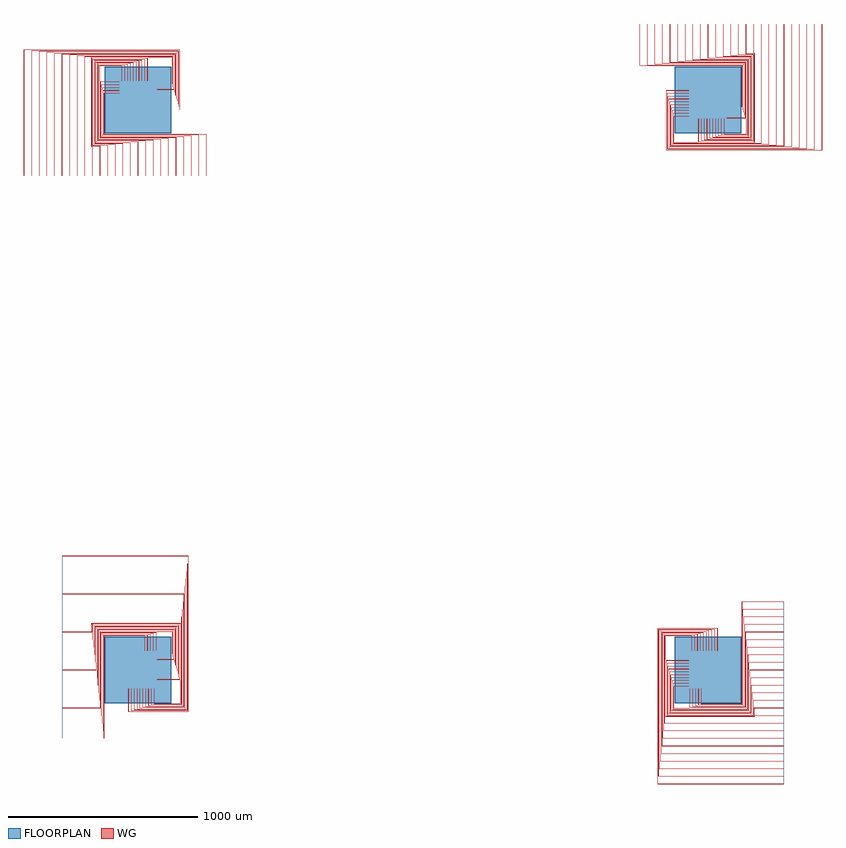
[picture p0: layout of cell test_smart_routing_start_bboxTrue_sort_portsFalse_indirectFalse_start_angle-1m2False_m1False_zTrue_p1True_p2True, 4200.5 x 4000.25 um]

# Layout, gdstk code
import gdstk
lib = gdstk.Library(unit=1e-6, precision=1e-09)
def R(c, l, rs):  # rectangles x0, y0, x1, y1
    for r in rs: c.add(gdstk.rectangle(r[:2], r[2:], *l))
def P(c, l, *ps):  # polygons
    for p in ps: c.add(gdstk.Polygon(p, *l))
WG = (1, 0)
FLOORPLAN = (10, 0)

test_smart_routing_start = lib.new_cell('test_smart_routing_start_bboxTrue_sort_portsFalse_indirectFalse_start_angle-1m2False_m1False_zTrue_p1True_p2True')
P(test_smart_routing_start, WG, [(2780.3,2735.3),(2780.3,3049.95),(2900,3049.95),(2900,3049.75),(2780.5,3049.75),(2780.5,2735.5),(3599.75,2735.5),(3599.75,3400),(3599.95,3400),(3599.95,2735.3)],
  [(2780,2735),(2780,3050.25),(2900,3050.25),(2900,3050.05),(2780.2,3050.05),(2780.2,2735.2),(3600.05,2735.2),(3600.05,3400),(3600.25,3400),(3600.25,2735)],
  [(2784.8,2739.8),(2784.8,3034.95),(2900,3034.95),(2900,3034.75),(2785,3034.75),(2785,2740),(3559.75,2740),(3559.75,3400),(3559.95,3400),(3559.95,2739.8)],
  [(2784.5,2739.5),(2784.5,3035.25),(2900,3035.25),(2900,3035.05),(2784.7,3035.05),(2784.7,2739.7),(3560.05,2739.7),(3560.05,3400),(3560.25,3400),(3560.25,2739.5)],
  [(2789.3,2744.3),(2789.3,3019.95),(2900,3019.95),(2900,3019.75),(2789.5,3019.75),(2789.5,2744.5),(3519.75,2744.5),(3519.75,3400),(3519.95,3400),(3519.95,2744.3)],
  [(2789,2744),(2789,3020.25),(2900,3020.25),(2900,3020.05),(2789.2,3020.05),(2789.2,2744.2),(3520.05,2744.2),(3520.05,3400),(3520.25,3400),(3520.25,2744)],
  [(2793.8,2748.8),(2793.8,3004.95),(2900,3004.95),(2900,3004.75),(2794,3004.75),(2794,2749),(3479.75,2749),(3479.75,3400),(3479.95,3400),(3479.95,2748.8)],
  [(2793.5,2748.5),(2793.5,3005.25),(2900,3005.25),(2900,3005.05),(2793.7,3005.05),(2793.7,2748.7),(3480.05,2748.7),(3480.05,3400),(3480.25,3400),(3480.25,2748.5)],
  [(2798.3,2753.3),(2798.3,2989.95),(2900,2989.95),(2900,2989.75),(2798.5,2989.75),(2798.5,2753.5),(3439.75,2753.5),(3439.75,3400),(3439.95,3400),(3439.95,2753.3)],
  [(2798,2753),(2798,2990.25),(2900,2990.25),(2900,2990.05),(2798.2,2990.05),(2798.2,2753.2),(3440.05,2753.2),(3440.05,3400),(3440.25,3400),(3440.25,2753)],
  [(2802.8,2757.8),(2802.8,2974.95),(2900,2974.95),(2900,2974.75),(2803,2974.75),(2803,2758),(3399.75,2758),(3399.75,3400),(3399.95,3400),(3399.95,2757.8)],
  [(2802.5,2757.5),(2802.5,2975.25),(2900,2975.25),(2900,2975.05),(2802.7,2975.05),(2802.7,2757.7),(3400.05,2757.7),(3400.05,3400),(3400.25,3400),(3400.25,2757.5)],
  [(2807.3,2762.3),(2807.3,2959.95),(2900,2959.95),(2900,2959.75),(2807.5,2959.75),(2807.5,2762.5),(3359.75,2762.5),(3359.75,3400),(3359.95,3400),(3359.95,2762.3)],
  [(2807,2762),(2807,2960.25),(2900,2960.25),(2900,2960.05),(2807.2,2960.05),(2807.2,2762.2),(3360.05,2762.2),(3360.05,3400),(3360.25,3400),(3360.25,2762)],
  [(2811.8,2766.8),(2811.8,2944.95),(2900,2944.95),(2900,2944.75),(2812,2944.75),(2812,2767),(3319.75,2767),(3319.75,3400),(3319.95,3400),(3319.95,2766.8)],
  [(2811.5,2766.5),(2811.5,2945.25),(2900,2945.25),(2900,2945.05),(2811.7,2945.05),(2811.7,2766.7),(3320.05,2766.7),(3320.05,3400),(3320.25,3400),(3320.25,2766.5)],
  [(2816.3,2771.3),(2816.3,2929.95),(2900,2929.95),(2900,2929.75),(2816.5,2929.75),(2816.5,2771.5),(3279.75,2771.5),(3279.75,3400),(3279.95,3400),(3279.95,2771.3)],
  [(2816,2771),(2816,2930.25),(2900,2930.25),(2900,2930.05),(2816.2,2930.05),(2816.2,2771.2),(3280.05,2771.2),(3280.05,3400),(3280.25,3400),(3280.25,2771)],
  [(2820.8,2775.8),(2820.8,2914.95),(2900,2914.95),(2900,2914.75),(2821,2914.75),(2821,2776),(3246.5,2776),(3246.5,3246.5),(3239.75,3246.5),(3239.75,3400),(3239.95,3400),(3239.95,3246.7),(3246.7,3246.7),(3246.7,2775.8)],
  [(2820.5,2775.5),(2820.5,2915.25),(2900,2915.25),(2900,2915.05),(2820.7,2915.05),(2820.7,2775.7),(3246.8,2775.7),(3246.8,3246.8),(3240.05,3246.8),(3240.05,3400),(3240.25,3400),(3240.25,3247),(3247,3247),(3247,2775.5)],
  [(2950.05,2780.3),(2950.05,2900),(2950.25,2900),(2950.25,2780.5),(3242,2780.5),(3242,3242),(3199.75,3242),(3199.75,3400),(3199.95,3400),(3199.95,3242.2),(3242.2,3242.2),(3242.2,2780.3)],
  [(2949.75,2780),(2949.75,2900),(2949.95,2900),(2949.95,2780.2),(3242.3,2780.2),(3242.3,3242.3),(3200.05,3242.3),(3200.05,3400),(3200.25,3400),(3200.25,3242.5),(3242.5,3242.5),(3242.5,2780)],
  [(2965.05,2784.8),(2965.05,2900),(2965.25,2900),(2965.25,2785),(3237.5,2785),(3237.5,3237.5),(3159.75,3237.5),(3159.75,3400),(3159.95,3400),(3159.95,3237.7),(3237.7,3237.7),(3237.7,2784.8)],
  [(2964.75,2784.5),(2964.75,2900),(2964.95,2900),(2964.95,2784.7),(3237.8,2784.7),(3237.8,3237.8),(3160.05,3237.8),(3160.05,3400),(3160.25,3400),(3160.25,3238),(3238,3238),(3238,2784.5)],
  [(2980.05,2789.3),(2980.05,2900),(2980.25,2900),(2980.25,2789.5),(3233,2789.5),(3233,3233),(3119.75,3233),(3119.75,3400),(3119.95,3400),(3119.95,3233.2),(3233.2,3233.2),(3233.2,2789.3)],
  [(2979.75,2789),(2979.75,2900),(2979.95,2900),(2979.95,2789.2),(3233.3,2789.2),(3233.3,3233.3),(3120.05,3233.3),(3120.05,3400),(3120.25,3400),(3120.25,3233.5),(3233.5,3233.5),(3233.5,2789)],
  [(2995.05,2793.8),(2995.05,2900),(2995.25,2900),(2995.25,2794),(3228.5,2794),(3228.5,3228.5),(3079.75,3228.5),(3079.75,3400),(3079.95,3400),(3079.95,3228.7),(3228.7,3228.7),(3228.7,2793.8)],
  [(2994.75,2793.5),(2994.75,2900),(2994.95,2900),(2994.95,2793.7),(3228.8,2793.7),(3228.8,3228.8),(3080.05,3228.8),(3080.05,3400),(3080.25,3400),(3080.25,3229),(3229,3229),(3229,2793.5)],
  [(3010.05,2798.3),(3010.05,2900),(3010.25,2900),(3010.25,2798.5),(3224,2798.5),(3224,3224),(3039.75,3224),(3039.75,3400),(3039.95,3400),(3039.95,3224.2),(3224.2,3224.2),(3224.2,2798.3)],
  [(3009.75,2798),(3009.75,2900),(3009.95,2900),(3009.95,2798.2),(3224.3,2798.2),(3224.3,3224.3),(3040.05,3224.3),(3040.05,3400),(3040.25,3400),(3040.25,3224.5),(3224.5,3224.5),(3224.5,2798)],
  [(3025.05,2802.8),(3025.05,2900),(3025.25,2900),(3025.25,2803),(3219.5,2803),(3219.5,3219.5),(2999.75,3219.5),(2999.75,3400),(2999.95,3400),(2999.95,3219.7),(3219.7,3219.7),(3219.7,2802.8)],
  [(3024.75,2802.5),(3024.75,2900),(3024.95,2900),(3024.95,2802.7),(3219.8,2802.7),(3219.8,3219.8),(3000.05,3219.8),(3000.05,3400),(3000.25,3400),(3000.25,3220),(3220,3220),(3220,2802.5)],
  [(3040.05,2807.3),(3040.05,2900),(3040.25,2900),(3040.25,2807.5),(3215,2807.5),(3215,3215),(2959.75,3215),(2959.75,3400),(2959.95,3400),(2959.95,3215.2),(3215.2,3215.2),(3215.2,2807.3)],
  [(3039.75,2807),(3039.75,2900),(3039.95,2900),(3039.95,2807.2),(3215.3,2807.2),(3215.3,3215.3),(2960.05,3215.3),(2960.05,3400),(2960.25,3400),(2960.25,3215.5),(3215.5,3215.5),(3215.5,2807)],
  [(3055.05,2811.8),(3055.05,2900),(3055.25,2900),(3055.25,2812),(3210.5,2812),(3210.5,3210.5),(2919.75,3210.5),(2919.75,3400),(2919.95,3400),(2919.95,3210.7),(3210.7,3210.7),(3210.7,2811.8)],
  [(3054.75,2811.5),(3054.75,2900),(3054.95,2900),(3054.95,2811.7),(3210.8,2811.7),(3210.8,3210.8),(2920.05,3210.8),(2920.05,3400),(2920.25,3400),(2920.25,3211),(3211,3211),(3211,2811.5)],
  [(3070.05,2816.3),(3070.05,2900),(3070.25,2900),(3070.25,2816.5),(3206,2816.5),(3206,3206),(2879.75,3206),(2879.75,3400),(2879.95,3400),(2879.95,3206.2),(3206.2,3206.2),(3206.2,2816.3)],
  [(3069.75,2816),(3069.75,2900),(3069.95,2900),(3069.95,2816.2),(3206.3,2816.2),(3206.3,3206.3),(2880.05,3206.3),(2880.05,3400),(2880.25,3400),(2880.25,3206.5),(3206.5,3206.5),(3206.5,2816)],
  [(3085.05,2820.8),(3085.05,2900),(3085.25,2900),(3085.25,2821),(3201.5,2821),(3201.5,3201.5),(2839.75,3201.5),(2839.75,3400),(2839.95,3400),(2839.95,3201.7),(3201.7,3201.7),(3201.7,2820.8)],
  [(3084.75,2820.5),(3084.75,2900),(3084.95,2900),(3084.95,2820.7),(3201.8,2820.7),(3201.8,3201.8),(2840.05,3201.8),(2840.05,3400),(2840.25,3400),(2840.25,3202),(3202,3202),(3202,2820.5)],
  [(3100,2965.05),(3100,2965.25),(3179,2965.25),(3179,3179),(2639.75,3179),(2639.75,3400),(2639.95,3400),(2639.95,3179.2),(3179.2,3179.2),(3179.2,2965.05)],
  [(3100,2964.75),(3100,2964.95),(3179.3,2964.95),(3179.3,3179.3),(2640.05,3179.3),(2640.05,3400),(2640.25,3400),(2640.25,3179.5),(3179.5,3179.5),(3179.5,2964.75)],
  [(3100,2950.05),(3100,2950.25),(3183.5,2950.25),(3183.5,3183.5),(2679.75,3183.5),(2679.75,3400),(2679.95,3400),(2679.95,3183.7),(3183.7,3183.7),(3183.7,2950.05)],
  [(3100,2949.75),(3100,2949.95),(3183.8,2949.95),(3183.8,3183.8),(2680.05,3183.8),(2680.05,3400),(2680.25,3400),(2680.25,3184),(3184,3184),(3184,2949.75)],
  [(3100,2935.05),(3100,2935.25),(3188,2935.25),(3188,3188),(2719.75,3188),(2719.75,3400),(2719.95,3400),(2719.95,3188.2),(3188.2,3188.2),(3188.2,2935.05)],
  [(3100,2934.75),(3100,2934.95),(3188.3,2934.95),(3188.3,3188.3),(2720.05,3188.3),(2720.05,3400),(2720.25,3400),(2720.25,3188.5),(3188.5,3188.5),(3188.5,2934.75)],
  [(3100,2920.05),(3100,2920.25),(3192.5,2920.25),(3192.5,3192.5),(2759.75,3192.5),(2759.75,3400),(2759.95,3400),(2759.95,3192.7),(3192.7,3192.7),(3192.7,2920.05)],
  [(3100,2919.75),(3100,2919.95),(3192.8,2919.95),(3192.8,3192.8),(2760.05,3192.8),(2760.05,3400),(2760.25,3400),(2760.25,3193),(3193,3193),(3193,2919.75)],
  [(3100,2905.05),(3100,2905.25),(3197,2905.25),(3197,3197),(2799.75,3197),(2799.75,3400),(2799.95,3400),(2799.95,3197.2),(3197.2,3197.2),(3197.2,2905.05)],
  [(3100,2904.75),(3100,2904.95),(3197.3,2904.95),(3197.3,3197.3),(2800.05,3197.3),(2800.05,3400),(2800.25,3400),(2800.25,3197.5),(3197.5,3197.5),(3197.5,2904.75)],
  [(-599.95,2600),(-599.95,3264.7),(219.7,3264.7),(219.7,2950.05),(100,2950.05),(100,2950.25),(219.5,2950.25),(219.5,3264.5),(-599.75,3264.5),(-599.75,2600)],
  [(-600.25,2600),(-600.25,3265),(220,3265),(220,2949.75),(100,2949.75),(100,2949.95),(219.8,2949.95),(219.8,3264.8),(-600.05,3264.8),(-600.05,2600)],
  [(-559.95,2600),(-559.95,3260.2),(215.2,3260.2),(215.2,2965.05),(100,2965.05),(100,2965.25),(215,2965.25),(215,3260),(-559.75,3260),(-559.75,2600)],
  [(-560.25,2600),(-560.25,3260.5),(215.5,3260.5),(215.5,2964.75),(100,2964.75),(100,2964.95),(215.3,2964.95),(215.3,3260.3),(-560.05,3260.3),(-560.05,2600)],
  [(-519.95,2600),(-519.95,3255.7),(210.7,3255.7),(210.7,2980.05),(100,2980.05),(100,2980.25),(210.5,2980.25),(210.5,3255.5),(-519.75,3255.5),(-519.75,2600)],
  [(-520.25,2600),(-520.25,3256),(211,3256),(211,2979.75),(100,2979.75),(100,2979.95),(210.8,2979.95),(210.8,3255.8),(-520.05,3255.8),(-520.05,2600)],
  [(-479.95,2600),(-479.95,3251.2),(206.2,3251.2),(206.2,2995.05),(100,2995.05),(100,2995.25),(206,2995.25),(206,3251),(-479.75,3251),(-479.75,2600)],
  [(-480.25,2600),(-480.25,3251.5),(206.5,3251.5),(206.5,2994.75),(100,2994.75),(100,2994.95),(206.3,2994.95),(206.3,3251.3),(-480.05,3251.3),(-480.05,2600)],
  [(-439.95,2600),(-439.95,3246.7),(201.7,3246.7),(201.7,3010.05),(100,3010.05),(100,3010.25),(201.5,3010.25),(201.5,3246.5),(-439.75,3246.5),(-439.75,2600)],
  [(-440.25,2600),(-440.25,3247),(202,3247),(202,3009.75),(100,3009.75),(100,3009.95),(201.8,3009.95),(201.8,3246.8),(-440.05,3246.8),(-440.05,2600)],
  [(-399.95,2600),(-399.95,3242.2),(197.2,3242.2),(197.2,3025.05),(100,3025.05),(100,3025.25),(197,3025.25),(197,3242),(-399.75,3242),(-399.75,2600)],
  [(-400.25,2600),(-400.25,3242.5),(197.5,3242.5),(197.5,3024.75),(100,3024.75),(100,3024.95),(197.3,3024.95),(197.3,3242.3),(-400.05,3242.3),(-400.05,2600)],
  [(-359.95,2600),(-359.95,3237.7),(192.7,3237.7),(192.7,3040.05),(100,3040.05),(100,3040.25),(192.5,3040.25),(192.5,3237.5),(-359.75,3237.5),(-359.75,2600)],
  [(-360.25,2600),(-360.25,3238),(193,3238),(193,3039.75),(100,3039.75),(100,3039.95),(192.8,3039.95),(192.8,3237.8),(-360.05,3237.8),(-360.05,2600)],
  [(-319.95,2600),(-319.95,3233.2),(188.2,3233.2),(188.2,3055.05),(100,3055.05),(100,3055.25),(188,3055.25),(188,3233),(-319.75,3233),(-319.75,2600)],
  [(-320.25,2600),(-320.25,3233.5),(188.5,3233.5),(188.5,3054.75),(100,3054.75),(100,3054.95),(188.3,3054.95),(188.3,3233.3),(-320.05,3233.3),(-320.05,2600)],
  [(-279.95,2600),(-279.95,3228.7),(183.7,3228.7),(183.7,3070.05),(100,3070.05),(100,3070.25),(183.5,3070.25),(183.5,3228.5),(-279.75,3228.5),(-279.75,2600)],
  [(-280.25,2600),(-280.25,3229),(184,3229),(184,3069.75),(100,3069.75),(100,3069.95),(183.8,3069.95),(183.8,3228.8),(-280.05,3228.8),(-280.05,2600)],
  [(-239.95,2600),(-239.95,2753.3),(-246.7,2753.3),(-246.7,3224.2),(179.2,3224.2),(179.2,3085.05),(100,3085.05),(100,3085.25),(179,3085.25),(179,3224),(-246.5,3224),(-246.5,2753.5),(-239.75,2753.5),(-239.75,2600)],
  [(-240.25,2600),(-240.25,2753),(-247,2753),(-247,3224.5),(179.5,3224.5),(179.5,3084.75),(100,3084.75),(100,3084.95),(179.3,3084.95),(179.3,3224.3),(-246.8,3224.3),(-246.8,2753.2),(-240.05,2753.2),(-240.05,2600)],
  [(-199.95,2600),(-199.95,2757.8),(-242.2,2757.8),(-242.2,3219.7),(49.95,3219.7),(49.95,3100),(49.75,3100),(49.75,3219.5),(-242,3219.5),(-242,2758),(-199.75,2758),(-199.75,2600)],
  [(-200.25,2600),(-200.25,2757.5),(-242.5,2757.5),(-242.5,3220),(50.25,3220),(50.25,3100),(50.05,3100),(50.05,3219.8),(-242.3,3219.8),(-242.3,2757.7),(-200.05,2757.7),(-200.05,2600)],
  [(-159.95,2600),(-159.95,2762.3),(-237.7,2762.3),(-237.7,3215.2),(34.95,3215.2),(34.95,3100),(34.75,3100),(34.75,3215),(-237.5,3215),(-237.5,2762.5),(-159.75,2762.5),(-159.75,2600)],
  [(-160.25,2600),(-160.25,2762),(-238,2762),(-238,3215.5),(35.25,3215.5),(35.25,3100),(35.05,3100),(35.05,3215.3),(-237.8,3215.3),(-237.8,2762.2),(-160.05,2762.2),(-160.05,2600)],
  [(-119.95,2600),(-119.95,2766.8),(-233.2,2766.8),(-233.2,3210.7),(19.95,3210.7),(19.95,3100),(19.75,3100),(19.75,3210.5),(-233,3210.5),(-233,2767),(-119.75,2767),(-119.75,2600)],
  [(-120.25,2600),(-120.25,2766.5),(-233.5,2766.5),(-233.5,3211),(20.25,3211),(20.25,3100),(20.05,3100),(20.05,3210.8),(-233.3,3210.8),(-233.3,2766.7),(-120.05,2766.7),(-120.05,2600)],
  [(-79.95,2600),(-79.95,2771.3),(-228.7,2771.3),(-228.7,3206.2),(4.95,3206.2),(4.95,3100),(4.75,3100),(4.75,3206),(-228.5,3206),(-228.5,2771.5),(-79.75,2771.5),(-79.75,2600)],
  [(-80.25,2600),(-80.25,2771),(-229,2771),(-229,3206.5),(5.25,3206.5),(5.25,3100),(5.05,3100),(5.05,3206.3),(-228.8,3206.3),(-228.8,2771.2),(-80.05,2771.2),(-80.05,2600)],
  [(-39.95,2600),(-39.95,2775.8),(-224.2,2775.8),(-224.2,3201.7),(-10.05,3201.7),(-10.05,3100),(-10.25,3100),(-10.25,3201.5),(-224,3201.5),(-224,2776),(-39.75,2776),(-39.75,2600)],
  [(-40.25,2600),(-40.25,2775.5),(-224.5,2775.5),(-224.5,3202),(-9.75,3202),(-9.75,3100),(-9.95,3100),(-9.95,3201.8),(-224.3,3201.8),(-224.3,2775.7),(-40.05,2775.7),(-40.05,2600)],
  [(0.05,2600),(0.05,2780.3),(-219.7,2780.3),(-219.7,3197.2),(-25.05,3197.2),(-25.05,3100),(-25.25,3100),(-25.25,3197),(-219.5,3197),(-219.5,2780.5),(0.25,2780.5),(0.25,2600)],
  [(-0.25,2600),(-0.25,2780),(-220,2780),(-220,3197.5),(-24.75,3197.5),(-24.75,3100),(-24.95,3100),(-24.95,3197.3),(-219.8,3197.3),(-219.8,2780.2),(-0.05,2780.2),(-0.05,2600)],
  [(40.05,2600),(40.05,2784.8),(-215.2,2784.8),(-215.2,3192.7),(-40.05,3192.7),(-40.05,3100),(-40.25,3100),(-40.25,3192.5),(-215,3192.5),(-215,2785),(40.25,2785),(40.25,2600)],
  [(39.75,2600),(39.75,2784.5),(-215.5,2784.5),(-215.5,3193),(-39.75,3193),(-39.75,3100),(-39.95,3100),(-39.95,3192.8),(-215.3,3192.8),(-215.3,2784.7),(39.95,2784.7),(39.95,2600)],
  [(80.05,2600),(80.05,2789.3),(-210.7,2789.3),(-210.7,3188.2),(-55.05,3188.2),(-55.05,3100),(-55.25,3100),(-55.25,3188),(-210.5,3188),(-210.5,2789.5),(80.25,2789.5),(80.25,2600)],
  [(79.75,2600),(79.75,2789),(-211,2789),(-211,3188.5),(-54.75,3188.5),(-54.75,3100),(-54.95,3100),(-54.95,3188.3),(-210.8,3188.3),(-210.8,2789.2),(79.95,2789.2),(79.95,2600)],
  [(120.05,2600),(120.05,2793.8),(-206.2,2793.8),(-206.2,3183.7),(-70.05,3183.7),(-70.05,3100),(-70.25,3100),(-70.25,3183.5),(-206,3183.5),(-206,2794),(120.25,2794),(120.25,2600)],
  [(119.75,2600),(119.75,2793.5),(-206.5,2793.5),(-206.5,3184),(-69.75,3184),(-69.75,3100),(-69.95,3100),(-69.95,3183.8),(-206.3,3183.8),(-206.3,2793.7),(119.95,2793.7),(119.95,2600)],
  [(160.05,2600),(160.05,2798.3),(-201.7,2798.3),(-201.7,3179.2),(-85.05,3179.2),(-85.05,3100),(-85.25,3100),(-85.25,3179),(-201.5,3179),(-201.5,2798.5),(160.25,2798.5),(160.25,2600)],
  [(159.75,2600),(159.75,2798),(-202,2798),(-202,3179.5),(-84.75,3179.5),(-84.75,3100),(-84.95,3100),(-84.95,3179.3),(-201.8,3179.3),(-201.8,2798.2),(159.95,2798.2),(159.95,2600)],
  [(360.05,2600),(360.05,2820.8),(-179.2,2820.8),(-179.2,3034.95),(-100,3034.95),(-100,3034.75),(-179,3034.75),(-179,2821),(360.25,2821),(360.25,2600)],
  [(359.75,2600),(359.75,2820.5),(-179.5,2820.5),(-179.5,3035.25),(-100,3035.25),(-100,3035.05),(-179.3,3035.05),(-179.3,2820.7),(359.95,2820.7),(359.95,2600)],
  [(320.05,2600),(320.05,2816.3),(-183.7,2816.3),(-183.7,3049.95),(-100,3049.95),(-100,3049.75),(-183.5,3049.75),(-183.5,2816.5),(320.25,2816.5),(320.25,2600)],
  [(319.75,2600),(319.75,2816),(-184,2816),(-184,3050.25),(-100,3050.25),(-100,3050.05),(-183.8,3050.05),(-183.8,2816.2),(319.95,2816.2),(319.95,2600)],
  [(280.05,2600),(280.05,2811.8),(-188.2,2811.8),(-188.2,3064.95),(-100,3064.95),(-100,3064.75),(-188,3064.75),(-188,2812),(280.25,2812),(280.25,2600)],
  [(279.75,2600),(279.75,2811.5),(-188.5,2811.5),(-188.5,3065.25),(-100,3065.25),(-100,3065.05),(-188.3,3065.05),(-188.3,2811.7),(279.95,2811.7),(279.95,2600)],
  [(240.05,2600),(240.05,2807.3),(-192.7,2807.3),(-192.7,3079.95),(-100,3079.95),(-100,3079.75),(-192.5,3079.75),(-192.5,2807.5),(240.25,2807.5),(240.25,2600)],
  [(239.75,2600),(239.75,2807),(-193,2807),(-193,3080.25),(-100,3080.25),(-100,3080.05),(-192.8,3080.05),(-192.8,2807.2),(239.95,2807.2),(239.95,2600)],
  [(200.05,2600),(200.05,2802.8),(-197.2,2802.8),(-197.2,3094.95),(-100,3094.95),(-100,3094.75),(-197,3094.75),(-197,2803),(200.25,2803),(200.25,2600)],
  [(199.75,2600),(199.75,2802.5),(-197.5,2802.5),(-197.5,3095.25),(-100,3095.25),(-100,3095.05),(-197.3,3095.05),(-197.3,2802.7),(199.95,2802.7),(199.95,2600)],
  [(-49.95,-219.7),(-49.95,-100),(-49.75,-100),(-49.75,-219.5),(264.5,-219.5),(264.5,599.75),(-400,599.75),(-400,599.95),(264.7,599.95),(264.7,-219.7)],
  [(-50.25,-220),(-50.25,-100),(-50.05,-100),(-50.05,-219.8),(264.8,-219.8),(264.8,600.05),(-400,600.05),(-400,600.25),(265,600.25),(265,-220)],
  [(-34.95,-215.2),(-34.95,-100),(-34.75,-100),(-34.75,-215),(260,-215),(260,559.75),(-400,559.75),(-400,559.95),(260.2,559.95),(260.2,-215.2)],
  [(-35.25,-215.5),(-35.25,-100),(-35.05,-100),(-35.05,-215.3),(260.3,-215.3),(260.3,560.05),(-400,560.05),(-400,560.25),(260.5,560.25),(260.5,-215.5)],
  [(-19.95,-210.7),(-19.95,-100),(-19.75,-100),(-19.75,-210.5),(255.5,-210.5),(255.5,519.75),(-400,519.75),(-400,519.95),(255.7,519.95),(255.7,-210.7)],
  [(-20.25,-211),(-20.25,-100),(-20.05,-100),(-20.05,-210.8),(255.8,-210.8),(255.8,520.05),(-400,520.05),(-400,520.25),(256,520.25),(256,-211)],
  [(-4.95,-206.2),(-4.95,-100),(-4.75,-100),(-4.75,-206),(251,-206),(251,479.75),(-400,479.75),(-400,479.95),(251.2,479.95),(251.2,-206.2)],
  [(-5.25,-206.5),(-5.25,-100),(-5.05,-100),(-5.05,-206.3),(251.3,-206.3),(251.3,480.05),(-400,480.05),(-400,480.25),(251.5,480.25),(251.5,-206.5)],
  [(10.05,-201.7),(10.05,-100),(10.25,-100),(10.25,-201.5),(246.5,-201.5),(246.5,439.75),(-400,439.75),(-400,439.95),(246.7,439.95),(246.7,-201.7)],
  [(9.75,-202),(9.75,-100),(9.95,-100),(9.95,-201.8),(246.8,-201.8),(246.8,440.05),(-400,440.05),(-400,440.25),(247,440.25),(247,-202)],
  [(25.05,-197.2),(25.05,-100),(25.25,-100),(25.25,-197),(242,-197),(242,399.75),(-400,399.75),(-400,399.95),(242.2,399.95),(242.2,-197.2)],
  [(24.75,-197.5),(24.75,-100),(24.95,-100),(24.95,-197.3),(242.3,-197.3),(242.3,400.05),(-400,400.05),(-400,400.25),(242.5,400.25),(242.5,-197.5)],
  [(40.05,-192.7),(40.05,-100),(40.25,-100),(40.25,-192.5),(237.5,-192.5),(237.5,359.75),(-400,359.75),(-400,359.95),(237.7,359.95),(237.7,-192.7)],
  [(39.75,-193),(39.75,-100),(39.95,-100),(39.95,-192.8),(237.8,-192.8),(237.8,360.05),(-400,360.05),(-400,360.25),(238,360.25),(238,-193)],
  [(55.05,-188.2),(55.05,-100),(55.25,-100),(55.25,-188),(233,-188),(233,319.75),(-400,319.75),(-400,319.95),(233.2,319.95),(233.2,-188.2)],
  [(54.75,-188.5),(54.75,-100),(54.95,-100),(54.95,-188.3),(233.3,-188.3),(233.3,320.05),(-400,320.05),(-400,320.25),(233.5,320.25),(233.5,-188.5)],
  [(70.05,-183.7),(70.05,-100),(70.25,-100),(70.25,-183.5),(228.5,-183.5),(228.5,279.75),(-400,279.75),(-400,279.95),(228.7,279.95),(228.7,-183.7)],
  [(69.75,-184),(69.75,-100),(69.95,-100),(69.95,-183.8),(228.8,-183.8),(228.8,280.05),(-400,280.05),(-400,280.25),(229,280.25),(229,-184)],
  [(85.05,-179.2),(85.05,-100),(85.25,-100),(85.25,-179),(224,-179),(224,246.5),(-246.5,246.5),(-246.5,239.75),(-400,239.75),(-400,239.95),(-246.7,239.95),(-246.7,246.7),(224.2,246.7),(224.2,-179.2)],
  [(84.75,-179.5),(84.75,-100),(84.95,-100),(84.95,-179.3),(224.3,-179.3),(224.3,246.8),(-246.8,246.8),(-246.8,240.05),(-400,240.05),(-400,240.25),(-247,240.25),(-247,247),(224.5,247),(224.5,-179.5)],
  [(100,-49.95),(100,-49.75),(219.5,-49.75),(219.5,242),(-242,242),(-242,199.75),(-400,199.75),(-400,199.95),(-242.2,199.95),(-242.2,242.2),(219.7,242.2),(219.7,-49.95)],
  [(100,-50.25),(100,-50.05),(219.8,-50.05),(219.8,242.3),(-242.3,242.3),(-242.3,200.05),(-400,200.05),(-400,200.25),(-242.5,200.25),(-242.5,242.5),(220,242.5),(220,-50.25)],
  [(100,-34.95),(100,-34.75),(215,-34.75),(215,237.5),(-237.5,237.5),(-237.5,159.75),(-400,159.75),(-400,159.95),(-237.7,159.95),(-237.7,237.7),(215.2,237.7),(215.2,-34.95)],
  [(100,-35.25),(100,-35.05),(215.3,-35.05),(215.3,237.8),(-237.8,237.8),(-237.8,160.05),(-400,160.05),(-400,160.25),(-238,160.25),(-238,238),(215.5,238),(215.5,-35.25)],
  [(100,-19.95),(100,-19.75),(210.5,-19.75),(210.5,233),(-233,233),(-233,119.75),(-400,119.75),(-400,119.95),(-233.2,119.95),(-233.2,233.2),(210.7,233.2),(210.7,-19.95)],
  [(100,-20.25),(100,-20.05),(210.8,-20.05),(210.8,233.3),(-233.3,233.3),(-233.3,120.05),(-400,120.05),(-400,120.25),(-233.5,120.25),(-233.5,233.5),(211,233.5),(211,-20.25)],
  [(100,-4.95),(100,-4.75),(206,-4.75),(206,228.5),(-228.5,228.5),(-228.5,79.75),(-400,79.75),(-400,79.95),(-228.7,79.95),(-228.7,228.7),(206.2,228.7),(206.2,-4.95)],
  [(100,-5.25),(100,-5.05),(206.3,-5.05),(206.3,228.8),(-228.8,228.8),(-228.8,80.05),(-400,80.05),(-400,80.25),(-229,80.25),(-229,229),(206.5,229),(206.5,-5.25)],
  [(100,10.05),(100,10.25),(201.5,10.25),(201.5,224),(-224,224),(-224,39.75),(-400,39.75),(-400,39.95),(-224.2,39.95),(-224.2,224.2),(201.7,224.2),(201.7,10.05)],
  [(100,9.75),(100,9.95),(201.8,9.95),(201.8,224.3),(-224.3,224.3),(-224.3,40.05),(-400,40.05),(-400,40.25),(-224.5,40.25),(-224.5,224.5),(202,224.5),(202,9.75)],
  [(-400,-0.25),(-400,-0.05),(-219.7,-0.05),(-219.7,219.7),(197.2,219.7),(197.2,25.05),(100,25.05),(100,25.25),(197,25.25),(197,219.5),(-219.5,219.5),(-219.5,-0.25)],
  [(-400,0.05),(-400,0.25),(-220,0.25),(-220,220),(197.5,220),(197.5,24.75),(100,24.75),(100,24.95),(197.3,24.95),(197.3,219.8),(-219.8,219.8),(-219.8,0.05)],
  [(-400,-40.25),(-400,-40.05),(-215.2,-40.05),(-215.2,215.2),(192.7,215.2),(192.7,40.05),(100,40.05),(100,40.25),(192.5,40.25),(192.5,215),(-215,215),(-215,-40.25)],
  [(-400,-39.95),(-400,-39.75),(-215.5,-39.75),(-215.5,215.5),(193,215.5),(193,39.75),(100,39.75),(100,39.95),(192.8,39.95),(192.8,215.3),(-215.3,215.3),(-215.3,-39.95)],
  [(-400,-80.25),(-400,-80.05),(-210.7,-80.05),(-210.7,210.7),(188.2,210.7),(188.2,55.05),(100,55.05),(100,55.25),(188,55.25),(188,210.5),(-210.5,210.5),(-210.5,-80.25)],
  [(-400,-79.95),(-400,-79.75),(-211,-79.75),(-211,211),(188.5,211),(188.5,54.75),(100,54.75),(100,54.95),(188.3,54.95),(188.3,210.8),(-210.8,210.8),(-210.8,-79.95)],
  [(-400,-120.25),(-400,-120.05),(-206.2,-120.05),(-206.2,206.2),(183.7,206.2),(183.7,70.05),(100,70.05),(100,70.25),(183.5,70.25),(183.5,206),(-206,206),(-206,-120.25)],
  [(-400,-119.95),(-400,-119.75),(-206.5,-119.75),(-206.5,206.5),(184,206.5),(184,69.75),(100,69.75),(100,69.95),(183.8,69.95),(183.8,206.3),(-206.3,206.3),(-206.3,-119.95)],
  [(-400,-160.25),(-400,-160.05),(-201.7,-160.05),(-201.7,201.7),(179.2,201.7),(179.2,85.05),(100,85.05),(100,85.25),(179,85.25),(179,201.5),(-201.5,201.5),(-201.5,-160.25)],
  [(-400,-159.95),(-400,-159.75),(-202,-159.75),(-202,202),(179.5,202),(179.5,84.75),(100,84.75),(100,84.95),(179.3,84.95),(179.3,201.8),(-201.8,201.8),(-201.8,-159.95)],
  [(-400,-360.25),(-400,-360.05),(-179.2,-360.05),(-179.2,179.2),(34.95,179.2),(34.95,100),(34.75,100),(34.75,179),(-179,179),(-179,-360.25)],
  [(-400,-359.95),(-400,-359.75),(-179.5,-359.75),(-179.5,179.5),(35.25,179.5),(35.25,100),(35.05,100),(35.05,179.3),(-179.3,179.3),(-179.3,-359.95)],
  [(-400,-320.25),(-400,-320.05),(-183.7,-320.05),(-183.7,183.7),(49.95,183.7),(49.95,100),(49.75,100),(49.75,183.5),(-183.5,183.5),(-183.5,-320.25)],
  [(-400,-319.95),(-400,-319.75),(-184,-319.75),(-184,184),(50.25,184),(50.25,100),(50.05,100),(50.05,183.8),(-183.8,183.8),(-183.8,-319.95)],
  [(-400,-280.25),(-400,-280.05),(-188.2,-280.05),(-188.2,188.2),(64.95,188.2),(64.95,100),(64.75,100),(64.75,188),(-188,188),(-188,-280.25)],
  [(-400,-279.95),(-400,-279.75),(-188.5,-279.75),(-188.5,188.5),(65.25,188.5),(65.25,100),(65.05,100),(65.05,188.3),(-188.3,188.3),(-188.3,-279.95)],
  [(-400,-240.25),(-400,-240.05),(-192.7,-240.05),(-192.7,192.7),(79.95,192.7),(79.95,100),(79.75,100),(79.75,192.5),(-192.5,192.5),(-192.5,-240.25)],
  [(-400,-239.95),(-400,-239.75),(-193,-239.75),(-193,193),(80.25,193),(80.25,100),(80.05,100),(80.05,192.8),(-192.8,192.8),(-192.8,-239.95)],
  [(-400,-200.25),(-400,-200.05),(-197.2,-200.05),(-197.2,197.2),(94.95,197.2),(94.95,100),(94.75,100),(94.75,197),(-197,197),(-197,-200.25)],
  [(-400,-199.95),(-400,-199.75),(-197.5,-199.75),(-197.5,197.5),(95.25,197.5),(95.25,100),(95.05,100),(95.05,197.3),(-197.3,197.3),(-197.3,-199.95)],
  [(2735.3,-599.95),(2735.3,219.7),(3049.95,219.7),(3049.95,100),(3049.75,100),(3049.75,219.5),(2735.5,219.5),(2735.5,-599.75),(3400,-599.75),(3400,-599.95)],
  [(2735,-600.25),(2735,220),(3050.25,220),(3050.25,100),(3050.05,100),(3050.05,219.8),(2735.2,219.8),(2735.2,-600.05),(3400,-600.05),(3400,-600.25)],
  [(2739.8,-559.95),(2739.8,215.2),(3034.95,215.2),(3034.95,100),(3034.75,100),(3034.75,215),(2740,215),(2740,-559.75),(3400,-559.75),(3400,-559.95)],
  [(2739.5,-560.25),(2739.5,215.5),(3035.25,215.5),(3035.25,100),(3035.05,100),(3035.05,215.3),(2739.7,215.3),(2739.7,-560.05),(3400,-560.05),(3400,-560.25)],
  [(2744.3,-519.95),(2744.3,210.7),(3019.95,210.7),(3019.95,100),(3019.75,100),(3019.75,210.5),(2744.5,210.5),(2744.5,-519.75),(3400,-519.75),(3400,-519.95)],
  [(2744,-520.25),(2744,211),(3020.25,211),(3020.25,100),(3020.05,100),(3020.05,210.8),(2744.2,210.8),(2744.2,-520.05),(3400,-520.05),(3400,-520.25)],
  [(2748.8,-479.95),(2748.8,206.2),(3004.95,206.2),(3004.95,100),(3004.75,100),(3004.75,206),(2749,206),(2749,-479.75),(3400,-479.75),(3400,-479.95)],
  [(2748.5,-480.25),(2748.5,206.5),(3005.25,206.5),(3005.25,100),(3005.05,100),(3005.05,206.3),(2748.7,206.3),(2748.7,-480.05),(3400,-480.05),(3400,-480.25)],
  [(2753.3,-439.95),(2753.3,201.7),(2989.95,201.7),(2989.95,100),(2989.75,100),(2989.75,201.5),(2753.5,201.5),(2753.5,-439.75),(3400,-439.75),(3400,-439.95)],
  [(2753,-440.25),(2753,202),(2990.25,202),(2990.25,100),(2990.05,100),(2990.05,201.8),(2753.2,201.8),(2753.2,-440.05),(3400,-440.05),(3400,-440.25)],
  [(2757.8,-399.95),(2757.8,197.2),(2974.95,197.2),(2974.95,100),(2974.75,100),(2974.75,197),(2758,197),(2758,-399.75),(3400,-399.75),(3400,-399.95)],
  [(2757.5,-400.25),(2757.5,197.5),(2975.25,197.5),(2975.25,100),(2975.05,100),(2975.05,197.3),(2757.7,197.3),(2757.7,-400.05),(3400,-400.05),(3400,-400.25)],
  [(2762.3,-359.95),(2762.3,192.7),(2959.95,192.7),(2959.95,100),(2959.75,100),(2959.75,192.5),(2762.5,192.5),(2762.5,-359.75),(3400,-359.75),(3400,-359.95)],
  [(2762,-360.25),(2762,193),(2960.25,193),(2960.25,100),(2960.05,100),(2960.05,192.8),(2762.2,192.8),(2762.2,-360.05),(3400,-360.05),(3400,-360.25)],
  [(2766.8,-319.95),(2766.8,188.2),(2944.95,188.2),(2944.95,100),(2944.75,100),(2944.75,188),(2767,188),(2767,-319.75),(3400,-319.75),(3400,-319.95)],
  [(2766.5,-320.25),(2766.5,188.5),(2945.25,188.5),(2945.25,100),(2945.05,100),(2945.05,188.3),(2766.7,188.3),(2766.7,-320.05),(3400,-320.05),(3400,-320.25)],
  [(2771.3,-279.95),(2771.3,183.7),(2929.95,183.7),(2929.95,100),(2929.75,100),(2929.75,183.5),(2771.5,183.5),(2771.5,-279.75),(3400,-279.75),(3400,-279.95)],
  [(2771,-280.25),(2771,184),(2930.25,184),(2930.25,100),(2930.05,100),(2930.05,183.8),(2771.2,183.8),(2771.2,-280.05),(3400,-280.05),(3400,-280.25)],
  [(2775.8,-246.7),(2775.8,179.2),(2914.95,179.2),(2914.95,100),(2914.75,100),(2914.75,179),(2776,179),(2776,-246.5),(3246.5,-246.5),(3246.5,-239.75),(3400,-239.75),(3400,-239.95),(3246.7,-239.95),(3246.7,-246.7)],
  [(2775.5,-247),(2775.5,179.5),(2915.25,179.5),(2915.25,100),(2915.05,100),(2915.05,179.3),(2775.7,179.3),(2775.7,-246.8),(3246.8,-246.8),(3246.8,-240.05),(3400,-240.05),(3400,-240.25),(3247,-240.25),(3247,-247)],
  [(2780.3,-242.2),(2780.3,49.95),(2900,49.95),(2900,49.75),(2780.5,49.75),(2780.5,-242),(3242,-242),(3242,-199.75),(3400,-199.75),(3400,-199.95),(3242.2,-199.95),(3242.2,-242.2)],
  [(2780,-242.5),(2780,50.25),(2900,50.25),(2900,50.05),(2780.2,50.05),(2780.2,-242.3),(3242.3,-242.3),(3242.3,-200.05),(3400,-200.05),(3400,-200.25),(3242.5,-200.25),(3242.5,-242.5)],
  [(2784.8,-237.7),(2784.8,34.95),(2900,34.95),(2900,34.75),(2785,34.75),(2785,-237.5),(3237.5,-237.5),(3237.5,-159.75),(3400,-159.75),(3400,-159.95),(3237.7,-159.95),(3237.7,-237.7)],
  [(2784.5,-238),(2784.5,35.25),(2900,35.25),(2900,35.05),(2784.7,35.05),(2784.7,-237.8),(3237.8,-237.8),(3237.8,-160.05),(3400,-160.05),(3400,-160.25),(3238,-160.25),(3238,-238)],
  [(2789.3,-233.2),(2789.3,19.95),(2900,19.95),(2900,19.75),(2789.5,19.75),(2789.5,-233),(3233,-233),(3233,-119.75),(3400,-119.75),(3400,-119.95),(3233.2,-119.95),(3233.2,-233.2)],
  [(2789,-233.5),(2789,20.25),(2900,20.25),(2900,20.05),(2789.2,20.05),(2789.2,-233.3),(3233.3,-233.3),(3233.3,-120.05),(3400,-120.05),(3400,-120.25),(3233.5,-120.25),(3233.5,-233.5)],
  [(2793.8,-228.7),(2793.8,4.95),(2900,4.95),(2900,4.75),(2794,4.75),(2794,-228.5),(3228.5,-228.5),(3228.5,-79.75),(3400,-79.75),(3400,-79.95),(3228.7,-79.95),(3228.7,-228.7)],
  [(2793.5,-229),(2793.5,5.25),(2900,5.25),(2900,5.05),(2793.7,5.05),(2793.7,-228.8),(3228.8,-228.8),(3228.8,-80.05),(3400,-80.05),(3400,-80.25),(3229,-80.25),(3229,-229)],
  [(2798.3,-224.2),(2798.3,-10.05),(2900,-10.05),(2900,-10.25),(2798.5,-10.25),(2798.5,-224),(3224,-224),(3224,-39.75),(3400,-39.75),(3400,-39.95),(3224.2,-39.95),(3224.2,-224.2)],
  [(2798,-224.5),(2798,-9.75),(2900,-9.75),(2900,-9.95),(2798.2,-9.95),(2798.2,-224.3),(3224.3,-224.3),(3224.3,-40.05),(3400,-40.05),(3400,-40.25),(3224.5,-40.25),(3224.5,-224.5)],
  [(2802.5,-220),(2802.5,-24.75),(2900,-24.75),(2900,-24.95),(2802.7,-24.95),(2802.7,-219.8),(3219.8,-219.8),(3219.8,-0.05),(3400,-0.05),(3400,-0.25),(3220,-0.25),(3220,-220)],
  [(2802.8,-219.7),(2802.8,-25.05),(2900,-25.05),(2900,-25.25),(2803,-25.25),(2803,-219.5),(3219.5,-219.5),(3219.5,0.25),(3400,0.25),(3400,0.05),(3219.7,0.05),(3219.7,-219.7)],
  [(2807,-215.5),(2807,-39.75),(2900,-39.75),(2900,-39.95),(2807.2,-39.95),(2807.2,-215.3),(3215.3,-215.3),(3215.3,39.95),(3400,39.95),(3400,39.75),(3215.5,39.75),(3215.5,-215.5)],
  [(2807.3,-215.2),(2807.3,-40.05),(2900,-40.05),(2900,-40.25),(2807.5,-40.25),(2807.5,-215),(3215,-215),(3215,40.25),(3400,40.25),(3400,40.05),(3215.2,40.05),(3215.2,-215.2)],
  [(2811.5,-211),(2811.5,-54.75),(2900,-54.75),(2900,-54.95),(2811.7,-54.95),(2811.7,-210.8),(3210.8,-210.8),(3210.8,79.95),(3400,79.95),(3400,79.75),(3211,79.75),(3211,-211)],
  [(2811.8,-210.7),(2811.8,-55.05),(2900,-55.05),(2900,-55.25),(2812,-55.25),(2812,-210.5),(3210.5,-210.5),(3210.5,80.25),(3400,80.25),(3400,80.05),(3210.7,80.05),(3210.7,-210.7)],
  [(2816,-206.5),(2816,-69.75),(2900,-69.75),(2900,-69.95),(2816.2,-69.95),(2816.2,-206.3),(3206.3,-206.3),(3206.3,119.95),(3400,119.95),(3400,119.75),(3206.5,119.75),(3206.5,-206.5)],
  [(2816.3,-206.2),(2816.3,-70.05),(2900,-70.05),(2900,-70.25),(2816.5,-70.25),(2816.5,-206),(3206,-206),(3206,120.25),(3400,120.25),(3400,120.05),(3206.2,120.05),(3206.2,-206.2)],
  [(2820.5,-202),(2820.5,-84.75),(2900,-84.75),(2900,-84.95),(2820.7,-84.95),(2820.7,-201.8),(3201.8,-201.8),(3201.8,159.95),(3400,159.95),(3400,159.75),(3202,159.75),(3202,-202)],
  [(2820.8,-201.7),(2820.8,-85.05),(2900,-85.05),(2900,-85.25),(2821,-85.25),(2821,-201.5),(3201.5,-201.5),(3201.5,160.25),(3400,160.25),(3400,160.05),(3201.7,160.05),(3201.7,-201.7)],
  [(2964.75,-179.5),(2964.75,-100),(2964.95,-100),(2964.95,-179.3),(3179.3,-179.3),(3179.3,359.95),(3400,359.95),(3400,359.75),(3179.5,359.75),(3179.5,-179.5)],
  [(2965.05,-179.2),(2965.05,-100),(2965.25,-100),(2965.25,-179),(3179,-179),(3179,360.25),(3400,360.25),(3400,360.05),(3179.2,360.05),(3179.2,-179.2)],
  [(2949.75,-184),(2949.75,-100),(2949.95,-100),(2949.95,-183.8),(3183.8,-183.8),(3183.8,319.95),(3400,319.95),(3400,319.75),(3184,319.75),(3184,-184)],
  [(2950.05,-183.7),(2950.05,-100),(2950.25,-100),(2950.25,-183.5),(3183.5,-183.5),(3183.5,320.25),(3400,320.25),(3400,320.05),(3183.7,320.05),(3183.7,-183.7)],
  [(2934.75,-188.5),(2934.75,-100),(2934.95,-100),(2934.95,-188.3),(3188.3,-188.3),(3188.3,279.95),(3400,279.95),(3400,279.75),(3188.5,279.75),(3188.5,-188.5)],
  [(2935.05,-188.2),(2935.05,-100),(2935.25,-100),(2935.25,-188),(3188,-188),(3188,280.25),(3400,280.25),(3400,280.05),(3188.2,280.05),(3188.2,-188.2)],
  [(2919.75,-193),(2919.75,-100),(2919.95,-100),(2919.95,-192.8),(3192.8,-192.8),(3192.8,239.95),(3400,239.95),(3400,239.75),(3193,239.75),(3193,-193)],
  [(2920.05,-192.7),(2920.05,-100),(2920.25,-100),(2920.25,-192.5),(3192.5,-192.5),(3192.5,240.25),(3400,240.25),(3400,240.05),(3192.7,240.05),(3192.7,-192.7)],
  [(2904.75,-197.5),(2904.75,-100),(2904.95,-100),(2904.95,-197.3),(3197.3,-197.3),(3197.3,199.95),(3400,199.95),(3400,199.75),(3197.5,199.75),(3197.5,-197.5)],
  [(2905.05,-197.2),(2905.05,-100),(2905.25,-100),(2905.25,-197),(3197,-197),(3197,200.25),(3400,200.25),(3400,200.05),(3197.2,200.05),(3197.2,-197.2)])
R(test_smart_routing_start, FLOORPLAN, [(-175,-175,175,175), (2825,-175,3175,175), (-175,2825,175,3175), (2825,2825,3175,3175)])
P(test_smart_routing_start, FLOORPLAN, [(-400,-360),(-400,600),(-400,600),(-400,-360)],
  [(-600,2600),(-600,2600),(360,2600),(360,2600)],
  [(3400,-600),(3400,360),(3400,360),(3400,-600)],
  [(2640,3400),(2640,3400),(3600,3400),(3600,3400)])

lib.write_gds('test_smart_routing_start_bboxTrue_sort_portsFalse_indirectFalse_start_angle-1m2False_m1False_zTrue_p1True_p2True.gds')
